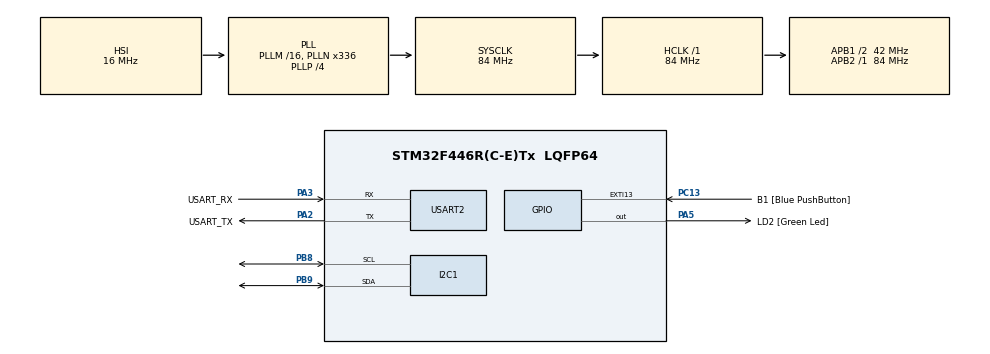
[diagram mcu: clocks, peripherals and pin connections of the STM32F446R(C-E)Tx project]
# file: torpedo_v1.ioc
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FREERTOS.Tasks01=defaultTask,24,1024,StartDefaultTask,Default,NULL,Dynamic,NULL,NULL
FREERTOS.configUSE_NEWLIB_REENTRANT=1
Mcu.Family=STM32F4
Mcu.Name=STM32F446R(C-E)Tx
Mcu.Package=LQFP64
NVIC.PriorityGroup=NVIC_PRIORITYGROUP_4
NVIC.TIM6_DAC_IRQn=true\:15\:0\:false\:false\:true\:false\:false\:true\:true
NVIC.TimeBase=TIM6_DAC_IRQn
NVIC.TimeBaseIP=TIM6
PA13.GPIO_Label=TMS
PA13.Mode=Serial_Wire
PA13.Signal=SYS_JTMS-SWDIO
PA14.GPIO_Label=TCK
PA14.Mode=Serial_Wire
PA14.Signal=SYS_JTCK-SWCLK
PA2.GPIO_Label=USART_TX
PA2.Mode=Asynchronous
PA2.Signal=USART2_TX
PA3.GPIO_Label=USART_RX
PA3.Mode=Asynchronous
PA3.Signal=USART2_RX
PA5.GPIO_Label=LD2 [Green Led]
PA5.Signal=GPIO_Output
PB3.GPIO_Label=SWO
PB3.Signal=SYS_JTDO-SWO
PB8.GPIO_Pu=GPIO_PULLUP
PB8.Mode=I2C
PB8.Signal=I2C1_SCL
PB9.GPIO_Pu=GPIO_PULLUP
PB9.Mode=I2C
PB9.Signal=I2C1_SDA
PC13.GPIO_Label=B1 [Blue PushButton]
PC13.GPIO_ModeDefaultEXTI=GPIO_MODE_IT_FALLING
PC13.Signal=GPXTI13
PC14-OSC32_IN.Mode=LSE-External-Oscillator
PC14-OSC32_IN.Signal=RCC_OSC32_IN
PC15-OSC32_OUT.Mode=LSE-External-Oscillator
PC15-OSC32_OUT.Signal=RCC_OSC32_OUT
PH0-OSC_IN.Mode=HSE-External-Oscillator
PH0-OSC_IN.Signal=RCC_OSC_IN
PH1-OSC_OUT.Mode=HSE-External-Oscillator
PH1-OSC_OUT.Signal=RCC_OSC_OUT
ProjectManager.HeapSize=0x200
ProjectManager.StackSize=0x400
ProjectManager.TargetToolchain=STM32CubeIDE
RCC.48MHZClocksFreq_Value=84000000
RCC.AHBFreq_Value=84000000
RCC.APB1CLKDivider=RCC_HCLK_DIV2
RCC.APB1Freq_Value=42000000
RCC.APB1TimFreq_Value=84000000
RCC.APB2Freq_Value=84000000
RCC.APB2TimFreq_Value=84000000
RCC.CortexFreq_Value=84000000
RCC.FLatency-AdvancedSettings=FLASH_LATENCY_2
RCC.HCLKFreq_Value=84000000
RCC.HSE_VALUE=8000000
RCC.HSI_VALUE=16000000
RCC.PLLN=336
RCC.PLLP=RCC_PLLP_DIV4
RCC.SYSCLKFreq_VALUE=84000000
RCC.SYSCLKSource=RCC_SYSCLKSOURCE_PLLCLK
RCC.USBFreq_Value=168000000
RCC.VCOOutputFreq_Value=336000000
USART2.VirtualMode=VM_ASYNC
VP_FREERTOS_VS_CMSIS_V2.Mode=CMSIS_V2
VP_SYS_VS_tim6.Mode=TIM6
board=NUCLEO-F446RE

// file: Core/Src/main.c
/* USER CODE BEGIN Header */
/**
  ******************************************************************************
  * @file           : main.c
  * @brief          : Main program body
  ******************************************************************************
  * @attention
  *
  * Copyright (c) 2025 STMicroelectronics.
  * All rights reserved.
  *
  * This software is licensed under terms that can be found in the LICENSE file
  * in the root directory of this software component.
  * If no LICENSE file comes with this software, it is provided AS-IS.
  *
  ******************************************************************************
  */
/* USER CODE END Header */
#include "main.h"
#include "cmsis_os.h"

/* USER CODE BEGIN Includes */
#include <stdio.h>
#include "app_icm42688p.h"
#include "app_lsm6dso.h"
#include "app_ubloxM9V.h"
/* USER CODE END Includes */

I2C_HandleTypeDef hi2c1;

UART_HandleTypeDef huart2;

/* Definitions for defaultTask */
osThreadId_t defaultTaskHandle;
const osThreadAttr_t defaultTask_attributes = {
  .name = "defaultTask",
  .stack_size = 1024 * 4,
  .priority = (osPriority_t) osPriorityNormal,
};

void SystemClock_Config(void);
static void MX_GPIO_Init(void);
static void MX_USART2_UART_Init(void);
static void MX_I2C1_Init(void);
void StartDefaultTask(void *argument);

/* USER CODE BEGIN PFP */
int _write(int file, char *ptr, int len)
{
    HAL_UART_Transmit(&huart2, (uint8_t *)ptr, len, HAL_MAX_DELAY);
    return len;
}

/* USER CODE END PFP */

int main(void)
{

  /* MCU Configuration--------------------------------------------------------*/

  /* Reset of all peripherals, Initializes the Flash interface and the Systick. */
  HAL_Init();

  /* Configure the system clock */
  SystemClock_Config();

  /* Initialize all configured peripherals */
  MX_GPIO_Init();
  MX_USART2_UART_Init();
  MX_I2C1_Init();

  /* Init scheduler */
  osKernelInitialize();

  /* Create the thread(s) */
  /* creation of defaultTask */
  defaultTaskHandle = osThreadNew(StartDefaultTask, NULL, &defaultTask_attributes);

  /* Start scheduler */
  osKernelStart();

  /* We should never get here as control is now taken by the scheduler */

  /* Infinite loop */
  while (1)
  {

  }
}

void SystemClock_Config(void)
{
  RCC_OscInitTypeDef RCC_OscInitStruct = {0};
  RCC_ClkInitTypeDef RCC_ClkInitStruct = {0};

  /** Configure the main internal regulator output voltage
  */
  __HAL_RCC_PWR_CLK_ENABLE();
  __HAL_PWR_VOLTAGESCALING_CONFIG(PWR_REGULATOR_VOLTAGE_SCALE3);

  /** Initializes the RCC Oscillators according to the specified parameters
  * in the RCC_OscInitTypeDef structure.
  */
  RCC_OscInitStruct.OscillatorType = RCC_OSCILLATORTYPE_HSI;
  RCC_OscInitStruct.HSIState = RCC_HSI_ON;
  RCC_OscInitStruct.HSICalibrationValue = RCC_HSICALIBRATION_DEFAULT;
  RCC_OscInitStruct.PLL.PLLState = RCC_PLL_ON;
  RCC_OscInitStruct.PLL.PLLSource = RCC_PLLSOURCE_HSI;
  RCC_OscInitStruct.PLL.PLLM = 16;
  RCC_OscInitStruct.PLL.PLLN = 336;
  RCC_OscInitStruct.PLL.PLLP = RCC_PLLP_DIV4;
  RCC_OscInitStruct.PLL.PLLQ = 2;
  RCC_OscInitStruct.PLL.PLLR = 2;
  if (HAL_RCC_OscConfig(&RCC_OscInitStruct) != HAL_OK)
  {
    Error_Handler();
  }

  /** Initializes the CPU, AHB and APB buses clocks
  */
  RCC_ClkInitStruct.ClockType = RCC_CLOCKTYPE_HCLK|RCC_CLOCKTYPE_SYSCLK
                              |RCC_CLOCKTYPE_PCLK1|RCC_CLOCKTYPE_PCLK2;
  RCC_ClkInitStruct.SYSCLKSource = RCC_SYSCLKSOURCE_PLLCLK;
  RCC_ClkInitStruct.AHBCLKDivider = RCC_SYSCLK_DIV1;
  RCC_ClkInitStruct.APB1CLKDivider = RCC_HCLK_DIV2;
  RCC_ClkInitStruct.APB2CLKDivider = RCC_HCLK_DIV1;

  if (HAL_RCC_ClockConfig(&RCC_ClkInitStruct, FLASH_LATENCY_2) != HAL_OK)
  {
    Error_Handler();
  }
}

static void MX_I2C1_Init(void)
{

  hi2c1.Instance = I2C1;
  hi2c1.Init.ClockSpeed = 100000;
  hi2c1.Init.DutyCycle = I2C_DUTYCYCLE_2;
  hi2c1.Init.OwnAddress1 = 0;
  hi2c1.Init.AddressingMode = I2C_ADDRESSINGMODE_7BIT;
  hi2c1.Init.DualAddressMode = I2C_DUALADDRESS_DISABLE;
  hi2c1.Init.OwnAddress2 = 0;
  hi2c1.Init.GeneralCallMode = I2C_GENERALCALL_DISABLE;
  hi2c1.Init.NoStretchMode = I2C_NOSTRETCH_DISABLE;
  if (HAL_I2C_Init(&hi2c1) != HAL_OK)
  {
    Error_Handler();
  }

}

static void MX_USART2_UART_Init(void)
{

  huart2.Instance = USART2;
  huart2.Init.BaudRate = 115200;
  huart2.Init.WordLength = UART_WORDLENGTH_8B;
  huart2.Init.StopBits = UART_STOPBITS_1;
  huart2.Init.Parity = UART_PARITY_NONE;
  huart2.Init.Mode = UART_MODE_TX_RX;
  huart2.Init.HwFlowCtl = UART_HWCONTROL_NONE;
  huart2.Init.OverSampling = UART_OVERSAMPLING_16;
  if (HAL_UART_Init(&huart2) != HAL_OK)
  {
    Error_Handler();
  }

}

static void MX_GPIO_Init(void)
{
  GPIO_InitTypeDef GPIO_InitStruct = {0};

  /* GPIO Ports Clock Enable */
  __HAL_RCC_GPIOC_CLK_ENABLE();
  __HAL_RCC_GPIOH_CLK_ENABLE();
  __HAL_RCC_GPIOA_CLK_ENABLE();
  __HAL_RCC_GPIOB_CLK_ENABLE();

  /*Configure GPIO pin Output Level */
  HAL_GPIO_WritePin(LD2_GPIO_Port, LD2_Pin, GPIO_PIN_RESET);

  /*Configure GPIO pin : B1_Pin */
  GPIO_InitStruct.Pin = B1_Pin;
  GPIO_InitStruct.Mode = GPIO_MODE_IT_FALLING;
  GPIO_InitStruct.Pull = GPIO_NOPULL;
  HAL_GPIO_Init(B1_GPIO_Port, &GPIO_InitStruct);

  /*Configure GPIO pin : LD2_Pin */
  GPIO_InitStruct.Pin = LD2_Pin;
  GPIO_InitStruct.Mode = GPIO_MODE_OUTPUT_PP;
  GPIO_InitStruct.Pull = GPIO_NOPULL;
  GPIO_InitStruct.Speed = GPIO_SPEED_FREQ_LOW;
  HAL_GPIO_Init(LD2_GPIO_Port, &GPIO_InitStruct);

}

void StartDefaultTask(void *argument)
{
  /* USER CODE BEGIN 5 */
	HAL_StatusTypeDef status = ICM42688P_Init(&hi2c1);
	if(status != HAL_OK)
		return;
  /* Infinite loop */
  for(;;)
  {
	  icm_data_t imu;

	  if (ICM42688P_ReadData(&imu) == HAL_OK)
	  {
	      printf("ACC: %.3f %.3f %.3f g\r\n", imu.ax, imu.ay, imu.az);
	      printf("GYR: %.3f %.3f %.3f dps\r\n", imu.gx, imu.gy, imu.gz);
	  }

    osDelay(1000);
  }
  /* USER CODE END 5 */
}

void HAL_TIM_PeriodElapsedCallback(TIM_HandleTypeDef *htim)
{
  if (htim->Instance == TIM6)
  {
    HAL_IncTick();
  }
}

void Error_Handler(void)
{
  __disable_irq();
  while (1)
  {
  }
}
